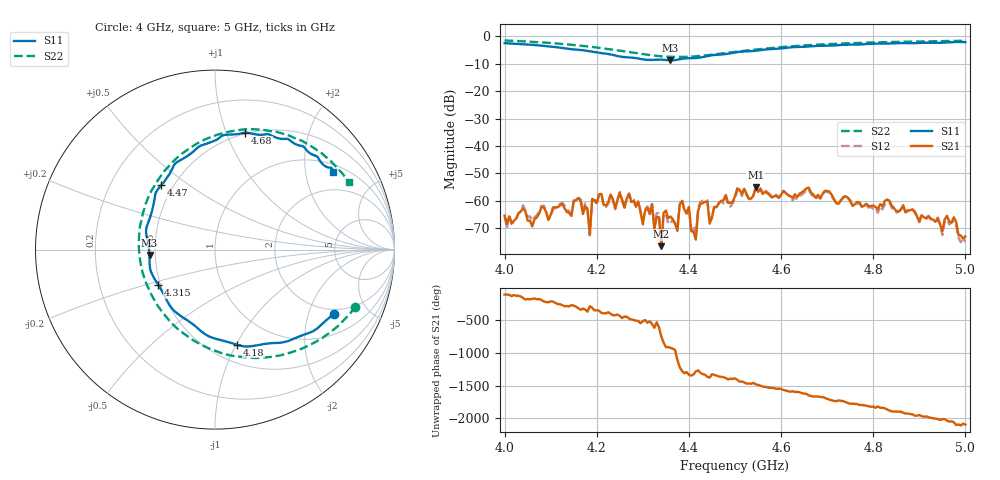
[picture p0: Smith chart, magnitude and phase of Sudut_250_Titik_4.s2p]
# Hz S RI R 50
! CMT, C1220, 16058040, 17.2.0/1
! Date: 15/08/2018 12:31:39
! Data: Format (Calibration Info)
! Freq  S11: Re/Im (F2)  S21: Re/Im (F2)  S12: Re/Im (F2)  S22: Re/Im (F2)
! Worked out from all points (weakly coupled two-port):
!   201 points, 4 GHz to 5 GHz, reference 50 ohm
!   highest |S21| = -55.09 dB at 4.545 GHz (marker M1); lowest = -76.6 dB at 4.34 GHz (marker M2)
!   lowest |S11| = -8.7 dB at 4.36 GHz (marker M3), VSWR 2.15, Z = 23.2 - j1.59 ohm
!   |S11| at or under -10 dB: nowhere
!   |S22| runs from -7.5 to -1.5 dB; largest |S21 - S12| = 0.00018
!   S11 on the Smith chart (normalised r, x): 4 GHz: 1.78, -2.96; 4.18 GHz: 0.67, -1.01; 4.315 GHz: 0.49, -0.22; 4.47 GHz: 0.43, +0.39; 4.68 GHz: 0.49, +1.16; 5 GHz: 1.25, +2.86
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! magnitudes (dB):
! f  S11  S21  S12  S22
! 4 GHz  -2.5  -65.4  -65.5  -1.5
! 4.17 GHz  -5.0  -64.9  -63.4  -3.4
! 4.18 GHz  -5.3  -63.6  -62.8  -3.6
! 4.185 GHz  -5.4  -72.3  -72.7  -3.7
! 4.19 GHz  -5.6  -59.3  -59.6  -3.8
! 4.21 GHz  -6.1  -57.5  -57.3  -4.3
! 4.315 GHz  -8.6  -64.9  -64.0  -6.8
! 4.335 GHz  -8.5  -66.0  -64.5  -7.2
! 4.34 GHz  -8.5  -76.6  -76.2  -7.3
! 4.345 GHz  -8.5  -64.4  -65.1  -7.3
! 4.36 GHz  -8.7  -65.8  -67.9  -7.5
! 4.375 GHz  -8.5  -71.0  -68.9  -7.5
! 4.385 GHz  -8.2  -60.1  -59.3  -7.5
! 4.415 GHz  -7.9  -74.2  -72.7  -7.2
! 4.425 GHz  -7.7  -61.0  -60.4  -7.1
! 4.47 GHz  -6.6  -60.1  -60.2  -6.3
! 4.5 GHz  -5.8  -58.4  -59.2  -5.6
! 4.545 GHz  -5.2  -55.1  -55.3  -4.8
! 4.67 GHz  -3.6  -57.7  -58.4  -3.1
! 4.68 GHz  -3.4  -57.9  -58.4  -3.0
! 4.835 GHz  -2.6  -60.0  -60.6  -2.1
! 5 GHz  -2.1  -73.0  -75.1  -1.6
